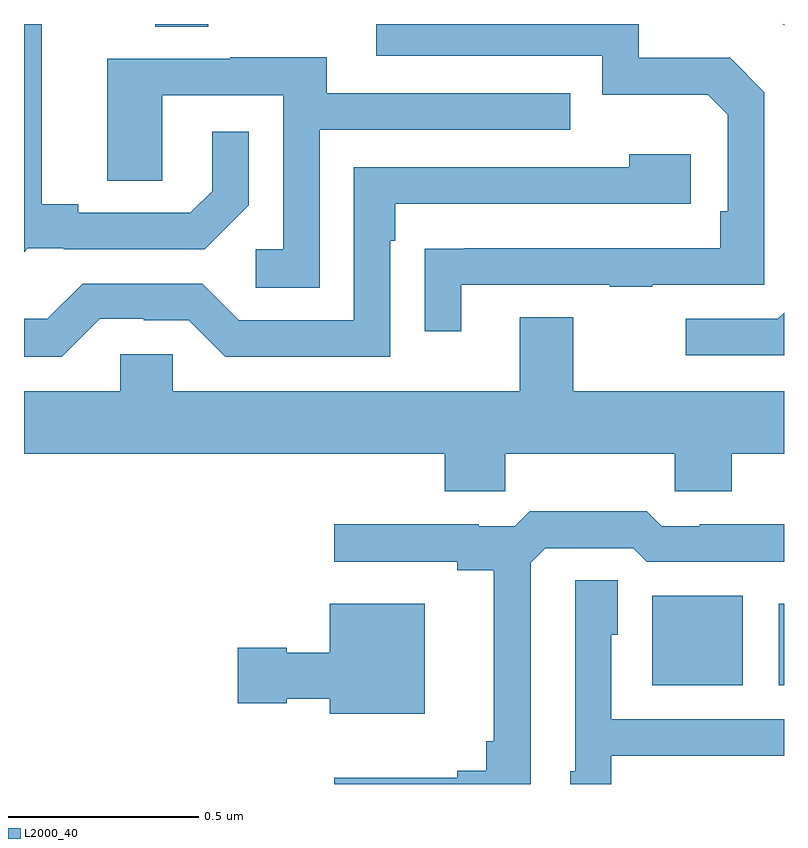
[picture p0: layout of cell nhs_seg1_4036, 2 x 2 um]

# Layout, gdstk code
import gdstk
lib = gdstk.Library(unit=1e-6, precision=1e-09)
def R(c, l, rs):  # rectangles x0, y0, x1, y1
    for r in rs: c.add(gdstk.rectangle(r[:2], r[2:], *l))
def P(c, l, *ps):  # polygons
    for p in ps: c.add(gdstk.Polygon(p, *l))
L2000_40 = (2000, 40)

nhs_seg1_4036 = lib.new_cell('nhs_seg1_4036')
R(nhs_seg1_4036, L2000_40, [(162.653,548.459,162.892,548.695), (162.986,548.459,163,548.674), (161.345,550.192,161.485,550.199)])
P(nhs_seg1_4036, L2000_40, [(163,550.199),(162.997,550.199),(163,550.196)],
  [(161.01,549.609),(161.104,549.609),(161.104,549.606),(161.476,549.606),(161.592,549.722),(161.592,549.916),(161.495,549.916),(161.495,549.759),(161.438,549.702),(161.143,549.702),(161.143,549.725),(161.047,549.725),(161.047,550.199),(161,550.199),(161,549.599)],
  [(162.151,549.513),(162.541,549.513),(162.541,549.508),(162.653,549.508),(162.653,549.513),(162.948,549.513),(162.948,550.02),(162.858,550.11),(162.618,550.11),(162.618,550.199),(161.927,550.199),(161.927,550.116),(162.522,550.116),(162.522,550.013),(162.799,550.013),(162.852,549.96),(162.852,549.706),(162.832,549.706),(162.832,549.609),(162.157,549.609),(162.157,549.608),(162.055,549.608),(162.055,549.39),(162.151,549.39)],
  [(161.778,549.921),(162.437,549.921),(162.437,550.017),(161.797,550.017),(161.797,550.111),(161.543,550.111),(161.543,550.107),(161.219,550.107),(161.219,549.787),(161.364,549.787),(161.364,550.011),(161.682,550.011),(161.682,549.606),(161.61,549.606),(161.61,549.505),(161.778,549.505)],
  [(161.199,549.423),(161.315,549.423),(161.315,549.42),(161.433,549.42),(161.529,549.324),(161.964,549.324),(161.964,549.629),(161.977,549.629),(161.977,549.726),(162.754,549.726),(162.754,549.856),(162.593,549.856),(162.593,549.822),(161.868,549.822),(161.868,549.42),(161.565,549.42),(161.469,549.516),(161.154,549.516),(161.061,549.423),(161,549.423),(161,549.323),(161.099,549.323)],
  [(163,549.439),(162.984,549.423),(162.741,549.423),(162.741,549.327),(163,549.327)],
  [(161.391,549.33),(161.253,549.33),(161.253,549.232),(161,549.232),(161,549.068),(162.107,549.068),(162.107,548.97),(162.267,548.97),(162.267,549.068),(162.712,549.068),(162.712,548.97),(162.862,548.97),(162.862,549.068),(163,549.068),(163,549.232),(162.445,549.232),(162.445,549.427),(162.305,549.427),(162.305,549.232),(161.391,549.232)],
  [(162.333,548.781),(162.372,548.82),(162.603,548.82),(162.639,548.784),(163,548.784),(163,548.882),(162.778,548.882),(162.778,548.877),(162.678,548.877),(162.639,548.917),(162.331,548.917),(162.291,548.877),(162.197,548.877),(162.197,548.882),(161.817,548.882),(161.817,548.784),(162.14,548.784),(162.14,548.762),(162.236,548.762),(162.236,548.311),(162.217,548.311),(162.217,548.234),(162.14,548.234),(162.14,548.215),(161.817,548.215),(161.817,548.199),(162.333,548.199)],
  [(162.546,548.273),(162.863,548.273),(162.863,548.274),(163,548.274),(163,548.37),(162.546,548.37),(162.546,548.592),(162.562,548.592),(162.562,548.735),(162.45,548.735),(162.45,548.232),(162.437,548.232),(162.437,548.199),(162.546,548.199)],
  [(162.055,548.674),(161.804,548.674),(161.804,548.545),(161.691,548.545),(161.691,548.558),(161.562,548.558),(161.562,548.411),(161.691,548.411),(161.691,548.423),(161.804,548.423),(161.804,548.384),(162.055,548.384)])

lib.write_gds('nhs_seg1_4036.gds')
